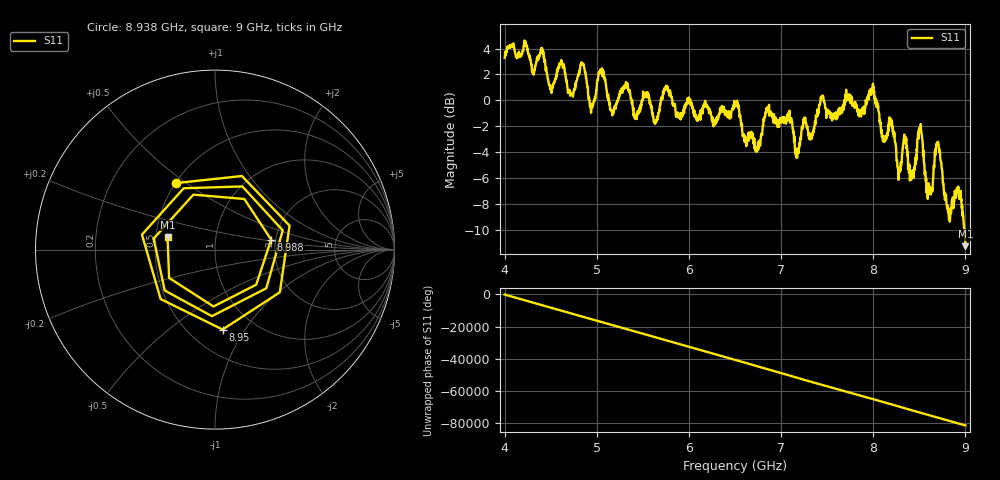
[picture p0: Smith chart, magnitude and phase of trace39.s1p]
! Created with skrf 1.8.0 (http://scikit-rf.org).
# Hz S RI R 50.0
!freq ReS11 ImS11
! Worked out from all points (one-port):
!   1601 points, 4 GHz to 9 GHz, reference 50 ohm
!   lowest |S11| = -11.3 dB at 9 GHz (marker M1), VSWR 1.75, Z = 28.8 + j4.4 ohm
!   |S11| at or under -10 dB: 8.988244 GHz to 8.993833 GHz (5.589 MHz wide, 0.0622 % of centre); 8.994156 GHz to end of sweep
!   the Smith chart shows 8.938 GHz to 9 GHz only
!   S11 on the Smith chart (normalised r, x): 8.938 GHz: 0.51, +0.46; 8.95 GHz: 0.72, -0.80; 8.988 GHz: 1.89, +0.24; 9 GHz: 0.58, +0.09
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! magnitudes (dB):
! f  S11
! 4 GHz  3.3
! 4.625 GHz  2.9
! 4.722 GHz  0.5
! 4.85 GHz  2.7
! 4.944 GHz  -0.3
! 5.047 GHz  2.2
! 5.162 GHz  -0.9
! 5.25 GHz  0.6
! 5.875 GHz  -1.2
! 6.5 GHz  -0.5
! 6.738 GHz  -3.6
! 6.847 GHz  -0.8
! 7.125 GHz  -2.1
! 7.175 GHz  -4.4
! 7.441 GHz  0.3
! 7.75 GHz  0.1
! 7.994 GHz  1.1
! 8.278 GHz  -5.6
! 8.375 GHz  -4.0
! 8.422 GHz  -5.5
! 8.509 GHz  -2.4
! 8.603 GHz  -6.8
! 8.7 GHz  -3.3
! 8.819 GHz  -8.8
! 8.938 GHz  -7.4
! 8.95 GHz  -7.0
! 8.988 GHz  -10.0
! 9 GHz  -11.3
